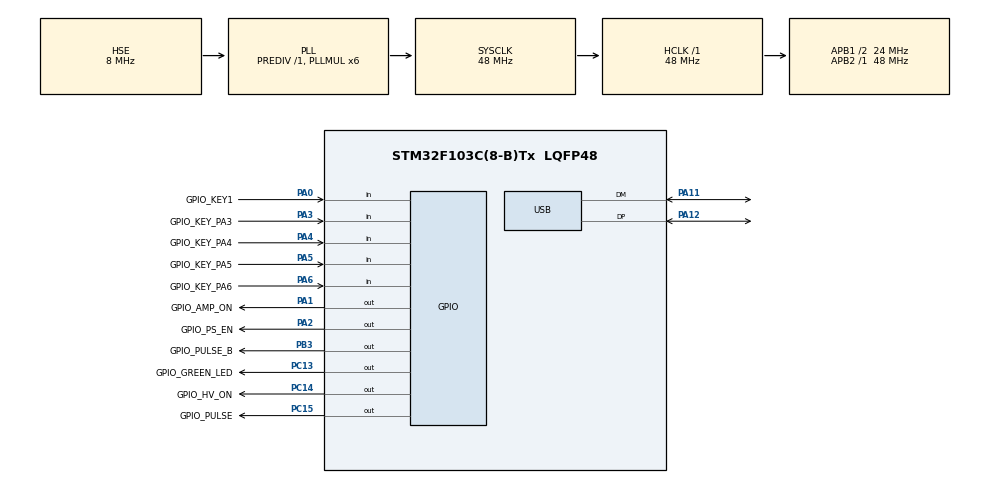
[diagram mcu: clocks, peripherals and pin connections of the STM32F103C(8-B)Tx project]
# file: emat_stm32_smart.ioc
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Mcu.Family=STM32F1
Mcu.Name=STM32F103C(8-B)Tx
Mcu.Package=LQFP48
NVIC.PriorityGroup=NVIC_PRIORITYGROUP_4
NVIC.TIM3_IRQn=true\:0\:0\:false\:false\:true\:true
NVIC.TIM4_IRQn=true\:0\:0\:false\:true\:true\:2\:true
NVIC.USB_LP_CAN1_RX0_IRQn=true\:0\:0\:false\:true\:true\:1\:false
PA0-WKUP.GPIO_Label=GPIO_KEY1
PA0-WKUP.GPIO_Mode=GPIO_MODE_INPUT
PA0-WKUP.GPIO_PuPd=GPIO_PULLUP
PA0-WKUP.Signal=GPIO_Input
PA1.GPIO_Label=GPIO_AMP_ON
PA1.GPIO_Speed=GPIO_SPEED_FREQ_HIGH
PA1.PinState=GPIO_PIN_RESET
PA1.Signal=GPIO_Output
PA11.Mode=Device
PA11.Signal=USB_DM
PA12.Mode=Device
PA12.Signal=USB_DP
PA2.GPIO_Label=GPIO_PS_EN
PA2.GPIO_ModeDefaultOutputPP=GPIO_MODE_OUTPUT_OD
PA2.GPIO_Speed=GPIO_SPEED_FREQ_HIGH
PA2.PinState=GPIO_PIN_SET
PA2.Signal=GPIO_Output
PA3.GPIO_Label=GPIO_KEY_PA3
PA3.GPIO_PuPd=GPIO_PULLUP
PA3.Signal=GPIO_Input
PA4.GPIO_Label=GPIO_KEY_PA4
PA4.GPIO_PuPd=GPIO_PULLUP
PA4.Signal=GPIO_Input
PA5.GPIO_Label=GPIO_KEY_PA5
PA5.GPIO_PuPd=GPIO_PULLUP
PA5.Signal=GPIO_Input
PA6.GPIO_Label=GPIO_KEY_PA6
PA6.GPIO_PuPd=GPIO_PULLUP
PA6.Signal=GPIO_Input
PB3.GPIO_Label=GPIO_PULSE_B
PB3.GPIO_Speed=GPIO_SPEED_FREQ_HIGH
PB3.PinState=GPIO_PIN_SET
PB3.Signal=GPIO_Output
PC13-TAMPER-RTC.GPIO_Label=GPIO_GREEN_LED
PC13-TAMPER-RTC.GPIO_ModeDefaultOutputPP=GPIO_MODE_OUTPUT_OD
PC13-TAMPER-RTC.PinState=GPIO_PIN_SET
PC13-TAMPER-RTC.Signal=GPIO_Output
PC14-OSC32_IN.GPIO_Label=GPIO_HV_ON
PC14-OSC32_IN.GPIO_ModeDefaultOutputPP=GPIO_MODE_OUTPUT_OD
PC14-OSC32_IN.GPIO_Speed=GPIO_SPEED_FREQ_HIGH
PC14-OSC32_IN.PinState=GPIO_PIN_SET
PC14-OSC32_IN.Signal=GPIO_Output
PC15-OSC32_OUT.GPIO_Label=GPIO_PULSE
PC15-OSC32_OUT.GPIO_ModeDefaultOutputPP=GPIO_MODE_OUTPUT_OD
PC15-OSC32_OUT.GPIO_Speed=GPIO_SPEED_FREQ_HIGH
PC15-OSC32_OUT.PinState=GPIO_PIN_SET
PC15-OSC32_OUT.Signal=GPIO_Output
PD0-OSC_IN.Mode=HSE-External-Oscillator
PD0-OSC_IN.Signal=RCC_OSC_IN
PD1-OSC_OUT.Mode=HSE-External-Oscillator
PD1-OSC_OUT.Signal=RCC_OSC_OUT
ProjectManager.HeapSize=0x200
ProjectManager.StackSize=0x400
ProjectManager.TargetToolchain=SW4STM32
RCC.AHBFreq_Value=48000000
RCC.APB1CLKDivider=RCC_HCLK_DIV2
RCC.APB1Freq_Value=24000000
RCC.APB1TimFreq_Value=48000000
RCC.APB2Freq_Value=48000000
RCC.APB2TimFreq_Value=48000000
RCC.HCLKFreq_Value=48000000
RCC.PLLMUL=RCC_PLL_MUL6
RCC.RTCClockSelection=RCC_RTCCLKSOURCE_LSE
RCC.SYSCLKFreq_VALUE=48000000
RCC.SYSCLKSource=RCC_SYSCLKSOURCE_PLLCLK
RCC.USBFreq_Value=48000000
TIM3.Period=48
TIM3.Prescaler=48
TIM4.AutoReloadPreload=TIM_AUTORELOAD_PRELOAD_DISABLE
TIM4.Period=48000
TIM4.Prescaler=0
TIM4.TIM_MasterOutputTrigger=TIM_TRGO_RESET
USB_DEVICE.CLASS_NAME_FS=CDC
USB_DEVICE.VirtualMode=Cdc
USB_DEVICE.VirtualModeFS=Cdc_FS
VP_SYS_VS_ND.Mode=No_Debug
VP_TIM3_VS_ClockSourceINT.Mode=Internal
VP_TIM4_VS_ClockSourceINT.Mode=Internal
VP_USB_DEVICE_VS_USB_DEVICE_CDC_FS.Mode=CDC_FS
board=custom

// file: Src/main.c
/**
  ******************************************************************************
  * @file           : main.c
  * @brief          : Main program body
  ******************************************************************************
  * This notice applies to any and all portions of this file
  * that are not between comment pairs USER CODE BEGIN and
  * USER CODE END. Other portions of this file, whether
  * inserted by the user or by software development tools
  * are owned by their respective copyright owners.
  *
  * Copyright (c) 2019 STMicroelectronics International N.V.
  * All rights reserved.
  *
  * Redistribution and use in source and binary forms, with or without
  * modification, are permitted, provided that the following conditions are met:
  *
  * 1. Redistribution of source code must retain the above copyright notice,
  *    this list of conditions and the following disclaimer.
  * 2. Redistributions in binary form must reproduce the above copyright notice,
  *    this list of conditions and the following disclaimer in the documentation
  *    and/or other materials provided with the distribution.
  * 3. Neither the name of STMicroelectronics nor the names of other
  *    contributors to this software may be used to endorse or promote products
  *    derived from this software without specific written permission.
  * 4. This software, including modifications and/or derivative works of this
  *    software, must execute solely and exclusively on microcontroller or
  *    microprocessor devices manufactured by or for STMicroelectronics.
  * 5. Redistribution and use of this software other than as permitted under
  *    this license is void and will automatically terminate your rights under
  *    this license.
  *
  * THIS SOFTWARE IS PROVIDED BY STMICROELECTRONICS AND CONTRIBUTORS "AS IS"
  * AND ANY EXPRESS, IMPLIED OR STATUTORY WARRANTIES, INCLUDING, BUT NOT
  * LIMITED TO, THE IMPLIED WARRANTIES OF MERCHANTABILITY, FITNESS FOR A
  * PARTICULAR PURPOSE AND NON-INFRINGEMENT OF THIRD PARTY INTELLECTUAL PROPERTY
  * RIGHTS ARE DISCLAIMED TO THE FULLEST EXTENT PERMITTED BY LAW. IN NO EVENT
  * SHALL STMICROELECTRONICS OR CONTRIBUTORS BE LIABLE FOR ANY DIRECT, INDIRECT,
  * INCIDENTAL, SPECIAL, EXEMPLARY, OR CONSEQUENTIAL DAMAGES (INCLUDING, BUT NOT
  * LIMITED TO, PROCUREMENT OF SUBSTITUTE GOODS OR SERVICES; LOSS OF USE, DATA,
  * OR PROFITS; OR BUSINESS INTERRUPTION) HOWEVER CAUSED AND ON ANY THEORY OF
  * LIABILITY, WHETHER IN CONTRACT, STRICT LIABILITY, OR TORT (INCLUDING
  * NEGLIGENCE OR OTHERWISE) ARISING IN ANY WAY OUT OF THE USE OF THIS SOFTWARE,
  * EVEN IF ADVISED OF THE POSSIBILITY OF SUCH DAMAGE.
  *
  ******************************************************************************
  */
#include "main.h"
#include "stm32f1xx_hal.h"
#include "usb_device.h"

/* USER CODE BEGIN Includes */
#include "src/microrl.h"
#include "event_queue.h"
#include "timer.h"
#include "timer_pulse.h"
#include "keys.h"
#include "stm32_microrl_misc.h"
/* USER CODE END Includes */

TIM_HandleTypeDef htim3;
TIM_HandleTypeDef htim4;

/* USER CODE BEGIN PV */
/* Private variables ---------------------------------------------------------*/
TIM_HandleTypeDef htim1;
//static uint32_t timer_counter;
static uint32_t pulse_width=10;
static uint32_t last_width=102;
typedef enum e_hv_state_TAG{
	HV_STATE_OFF,
	HV_STATE_ON
	} e_hv_state;
static e_hv_state hv_state = HV_STATE_OFF;
typedef enum e_pulse_state_TAG{
	PULSE_STATE_OFF,
	PULSE_STATE_DELAY_AFTER_HV_OFF,
	PULSE_STATE_ON_AFTER_HV_OFF,
	PULSE_STATE_ON
	} e_pulse_state;
static e_pulse_state pulse_state = PULSE_STATE_OFF;

typedef enum e_ext_int_state_TAG{
	EXT_INT_STATE_IDLE,
	EXT_INT_STATE_TRIGGERED,
	EXT_INT_STATE_DELAY_BEFORE_ON,
	EXT_INT_STATE_DELAY_BEFORE_OFF,
	} e_ext_int_state;
static e_ext_int_state ext_int_state = EXT_INT_STATE_IDLE;
/* USER CODE END PV */

void SystemClock_Config(void);
static void MX_GPIO_Init(void);
static void MX_TIM4_Init(void);
static void MX_TIM3_Init(void);
static void MX_NVIC_Init(void);

/* USER CODE BEGIN PFP */
/* Private function prototypes -----------------------------------------------*/
#define HV_ON() { \
		HAL_GPIO_WritePin(GPIO_HV_ON_GPIO_Port, GPIO_HV_ON_Pin, GPIO_PIN_RESET); \
		HAL_GPIO_WritePin(GPIO_GREEN_LED_GPIO_Port, GPIO_GREEN_LED_Pin, GPIO_PIN_RESET); \
	}
#define HV_OFF() { \
		HAL_GPIO_WritePin(GPIO_HV_ON_GPIO_Port, GPIO_HV_ON_Pin, GPIO_PIN_SET); \
		HAL_GPIO_WritePin(GPIO_GREEN_LED_GPIO_Port, GPIO_GREEN_LED_Pin, GPIO_PIN_SET); \
    }

#define PULSE_ON() { \
		HAL_GPIO_WritePin(GPIO_PULSE_GPIO_Port, GPIO_PULSE_Pin, GPIO_PIN_RESET); \
		HAL_GPIO_WritePin(GPIO_PULSE_B_GPIO_Port, GPIO_PULSE_B_Pin, GPIO_PIN_RESET); \
	}
#define PULSE_OFF() { \
		HAL_GPIO_WritePin(GPIO_PULSE_GPIO_Port, GPIO_PULSE_Pin, GPIO_PIN_SET); \
		HAL_GPIO_WritePin(GPIO_PULSE_B_GPIO_Port, GPIO_PULSE_B_Pin, GPIO_PIN_SET); \
	}
#define PS_ON() { \
		HAL_GPIO_WritePin(GPIO_PS_EN_GPIO_Port, GPIO_PS_EN_Pin, GPIO_PIN_SET); \
	}
#define PS_OFF() { \
		HAL_GPIO_WritePin(GPIO_PS_EN_GPIO_Port, GPIO_PS_EN_Pin, GPIO_PIN_RESET); \
	}

#define AMP_ON() { \
		HAL_GPIO_WritePin(GPIO_AMP_ON_GPIO_Port, GPIO_AMP_ON_Pin, GPIO_PIN_RESET); \
	}
#define AMP_OFF() { \
		HAL_GPIO_WritePin(GPIO_AMP_ON_GPIO_Port, GPIO_AMP_ON_Pin, GPIO_PIN_SET); \
	}
//#define LED_GREEN_ON() HAL_GPIO_WritePin(GPIO_GREEN_LED_GPIO_Port, GPIO_GREEN_LED_Pin, GPIO_PIN_RESET)
//#define LED_GREEN_OFF() HAL_GPIO_WritePin(GPIO_GREEN_LED_GPIO_Port, GPIO_GREEN_LED_Pin, GPIO_PIN_SET)

#define DELAY_AFTER_HV_OFF 5

/* USER CODE END PFP */

/* USER CODE BEGIN 0 */
void EventQueueIsFull(void)
{
	print("Error! EQ is Full!");
	for(;;);
}

void TimerPulseOnCallback(void)
{
	PULSE_ON();
}
void TimerPsOffCallback(void)
{
	PS_OFF();
}
void TimerPulseOffCallback(void)
{
	PULSE_OFF();
}
void TimerAmpOnCallback(void)
{
	AMP_ON();
}

char Key0Callback(void)
{
	char pressed = 0;
	if (GPIO_PIN_RESET == HAL_GPIO_ReadPin(GPIO_KEY1_GPIO_Port, GPIO_KEY1_Pin)){
		pressed = 1;
	}
	return pressed;
}

char KeyPA3Callback(void)
{
	char pressed = 0;
	if (GPIO_PIN_RESET == HAL_GPIO_ReadPin(GPIO_KEY_PA3_GPIO_Port, GPIO_KEY_PA3_Pin)){
		pressed = 1;
	}
	return pressed;
}

char KeyPA4Callback(void)
{
	char pressed = 0;
	if (GPIO_PIN_RESET == HAL_GPIO_ReadPin(GPIO_KEY_PA4_GPIO_Port, GPIO_KEY_PA4_Pin)){
		pressed = 1;
	}
	return pressed;
}

char KeyPA5Callback(void)
{
	char pressed = 0;
	if (GPIO_PIN_RESET == HAL_GPIO_ReadPin(GPIO_KEY_PA5_GPIO_Port, GPIO_KEY_PA5_Pin)){
		pressed = 1;
	}
	return pressed;
}

char KeyPA6Callback(void)
{
	char pressed = 0;
	if (GPIO_PIN_RESET == HAL_GPIO_ReadPin(GPIO_KEY_PA6_GPIO_Port, GPIO_KEY_PA6_Pin)){
		pressed = 1;
	}
	return pressed;
}

/* USER CODE END 0 */

int main(void)
{
  /* USER CODE BEGIN 1 */
	eq_queue_element_s ev;
  /* USER CODE END 1 */

  /* MCU Configuration----------------------------------------------------------*/

  /* Reset of all peripherals, Initializes the Flash interface and the Systick. */
  HAL_Init();

  /* Configure the system clock */
  SystemClock_Config();

  /* Initialize all configured peripherals */
  MX_GPIO_Init();
  MX_USB_DEVICE_Init();
  MX_TIM4_Init();
  MX_TIM3_Init();

  /* Initialize interrupts */
  MX_NVIC_Init();
  /* USER CODE BEGIN 2 */
  KEYS_Init(TIM4_IRQn);
  keys_cb_s keys_cb;

  keys_cb.mask = 0x3FF;
  keys_cb.event = CMD_PULSE_ON;
  keys_cb.p_check_key_callback = &Key0Callback;
  KEYS_RegisterCallback(0, &keys_cb);

  keys_cb.mask = 0x3FF;
  keys_cb.event = CMD_HV_ON;
  keys_cb.p_check_key_callback = &KeyPA3Callback;
  KEYS_RegisterCallback(1, &keys_cb);

  keys_cb.mask = 0x3FF;
  keys_cb.event = CMD_PULSE_ON;
  keys_cb.p_check_key_callback = &KeyPA4Callback;
  KEYS_RegisterCallback(2, &keys_cb);

  keys_cb.mask = 0x3FF;
  keys_cb.event = CMD_HV_OFF;
  keys_cb.p_check_key_callback = &KeyPA5Callback;
  KEYS_RegisterCallback(3, &keys_cb);

  keys_cb.mask = 0x3FF;
  keys_cb.event = CMD_PULSE_OFF;
  keys_cb.p_check_key_callback = &KeyPA6Callback;
  KEYS_RegisterCallback(3, &keys_cb);

  HAL_TIM_Base_Start_IT(&htim4);
//  HAL_TIM_Base_Start_IT(&htim3);
  init();
  TIMER_PULSE_Init(&htim3,TIM3_IRQn);
  tm_pulse_cb_s cb;
  cb.p_ps_off_callback = &TimerPsOffCallback;;
  cb.p_amp_on_callback = &TimerAmpOnCallback;
  cb.p_pulse_on_callback = &TimerPulseOnCallback;
  cb.p_pulse_off_callback = &TimerPulseOffCallback;
  cb.delay_to_ps_off = 1000;
  cb.delay_to_pulse_on = 4000;
  cb.delay_to_amp_on = 15;
  cb.delay_to_pulse_off = 285;
  TIMER_PULSE_RegisterCallbackExpired(&cb);
//  HAL_GPIO_WritePin(GPIO_GREEN_LED_GPIO_Port, GPIO_GREEN_LED_Pin, GPIO_PIN_SET);
  /* USER CODE END 2 */

  /* Infinite loop */
  while (1)
  {

  /* USER CODE BEGIN 3 */
//	  HAL_GPIO_WritePin(GPIO_GREEN_LED_GPIO_Port, GPIO_GREEN_LED_Pin, GPIO_PIN_SET);
	  TERM_Task();
	  TIMER_Task();
	  TIMER_PULSE_Task();
	  KEYS_Task();
	  do {
		  EQ_GetEvent(&ev);
//		  ExtIntTask(&ev);
		  switch(ev.event){
		  case NO_EVENT:
			  break;
		  case CMD_WIDTH:
			  pulse_width=ev.param.uiParam;
//			  TIMER_StartAuto(1, ev.param.uiParam);
//			  last_width = ev.param.uiParam;
			  break;
		  case CMD_PULSE_OFF:
			  if (pulse_state == PULSE_STATE_ON) {
				  PULSE_OFF();
				  pulse_state = PULSE_STATE_OFF;
			  }
			  break;
		  case CMD_PULSE_ON:
			  if (hv_state == HV_STATE_ON) {
				  HV_OFF();
				  hv_state = HV_STATE_OFF;
//				  PS_OFF();
				  AMP_OFF();
				  TIMER_PULSE_Start();
				  pulse_state = PULSE_STATE_DELAY_AFTER_HV_OFF;
			  } else {
				  PULSE_ON();
				  AMP_OFF();
//				  TIMER_PULSE_Start();

//				  TIMER_StartAuto(1, pulse_width);
				  pulse_state = PULSE_STATE_ON;
			  }
//			  HAL_GPIO_WritePin(GPIO_PULSE_GPIO_Port, GPIO_PULSE_Pin, GPIO_PIN_SET);  // SET means open IGBT
			  break;
		  case PULSE_TIMER_EXPIRED:
			  if (pulse_state == PULSE_STATE_ON) {
				  pulse_state = PULSE_STATE_OFF;
				  PS_ON();
			  } else if (PULSE_STATE_DELAY_AFTER_HV_OFF == pulse_state) {
				  pulse_state = PULSE_STATE_OFF;
				  HV_ON();
				  hv_state = HV_STATE_ON;
				  PS_ON();
			  }
			  break;
		  case TIMER1_EXPIRED:
			  if (pulse_state == PULSE_STATE_ON) {
				  PULSE_OFF();
				  pulse_state = PULSE_STATE_OFF;
			  } else if (pulse_state == PULSE_STATE_DELAY_AFTER_HV_OFF) {
				  PS_OFF();
				  PULSE_ON();
				  TIMER_StartAuto(1, pulse_width);
				  pulse_state = PULSE_STATE_ON_AFTER_HV_OFF;
			  } else if (pulse_state == PULSE_STATE_ON_AFTER_HV_OFF) {
				  PULSE_OFF();
				  PS_ON();
				  pulse_state = PULSE_STATE_OFF;
				  HV_ON();
				  hv_state = HV_STATE_ON;
			  }

//			  HAL_GPIO_WritePin(GPIO_PULSE_GPIO_Port, GPIO_PULSE_Pin, GPIO_PIN_RESET);// RESET means close IGBT
			  break;
		  case CMD_HV_ON:
//			  HAL_GPIO_WritePin(HV_ON_OFF_GPIO_Port, HV_ON_OFF_Pin, GPIO_PIN_SET);
			  TIMER_Stop(1);
//			  LED_GREEN_ON();
			  PS_ON();
			  HV_ON();
			  hv_state = HV_STATE_ON;
			  PULSE_OFF();
			  pulse_state = PULSE_STATE_OFF;

//			  HAL_GPIO_WritePin(GPIO_GREEN_LED_GPIO_Port, GPIO_GREEN_LED_Pin, GPIO_PIN_RESET);
//			  HAL_GPIO_WritePin(GPIO_PULSE_GPIO_Port, GPIO_PULSE_Pin, GPIO_PIN_RESET);// RESET means close IGBT
//			  HAL_GPIO_WritePin(GPIO_HV_ON_GPIO_Port, GPIO_HV_ON_Pin, GPIO_PIN_RESET);
			  break;
		  case CMD_HV_OFF:
			  TIMER_Stop(1);
//			  LED_GREEN_OFF();
//			  HAL_GPIO_WritePin(GPIO_GREEN_LED_GPIO_Port, GPIO_GREEN_LED_Pin, GPIO_PIN_SET);
			  HV_OFF();
			  hv_state = HV_STATE_OFF;
//			  PULSE_ON();
//			  pulse_state = PULSE_STATE_ON;
//			  HAL_GPIO_WritePin(GPIO_HV_ON_GPIO_Port, GPIO_HV_ON_Pin, GPIO_PIN_SET); // SET means OFF - close open drain
//			  HAL_GPIO_WritePin(GPIO_PULSE_GPIO_Port, GPIO_PULSE_Pin, GPIO_PIN_SET);
			  break;
		  default:
			  break;
		  }
	  } while (ev.event != NO_EVENT);

  }
  /* USER CODE END 3 */

}

void SystemClock_Config(void)
{

  RCC_OscInitTypeDef RCC_OscInitStruct;
  RCC_ClkInitTypeDef RCC_ClkInitStruct;
  RCC_PeriphCLKInitTypeDef PeriphClkInit;

    /**Initializes the CPU, AHB and APB busses clocks
    */
  RCC_OscInitStruct.OscillatorType = RCC_OSCILLATORTYPE_HSE;
  RCC_OscInitStruct.HSEState = RCC_HSE_ON;
  RCC_OscInitStruct.HSEPredivValue = RCC_HSE_PREDIV_DIV1;
  RCC_OscInitStruct.HSIState = RCC_HSI_ON;
  RCC_OscInitStruct.PLL.PLLState = RCC_PLL_ON;
  RCC_OscInitStruct.PLL.PLLSource = RCC_PLLSOURCE_HSE;
  RCC_OscInitStruct.PLL.PLLMUL = RCC_PLL_MUL6;
  if (HAL_RCC_OscConfig(&RCC_OscInitStruct) != HAL_OK)
  {
    _Error_Handler(__FILE__, __LINE__);
  }

    /**Initializes the CPU, AHB and APB busses clocks
    */
  RCC_ClkInitStruct.ClockType = RCC_CLOCKTYPE_HCLK|RCC_CLOCKTYPE_SYSCLK
                              |RCC_CLOCKTYPE_PCLK1|RCC_CLOCKTYPE_PCLK2;
  RCC_ClkInitStruct.SYSCLKSource = RCC_SYSCLKSOURCE_PLLCLK;
  RCC_ClkInitStruct.AHBCLKDivider = RCC_SYSCLK_DIV1;
  RCC_ClkInitStruct.APB1CLKDivider = RCC_HCLK_DIV2;
  RCC_ClkInitStruct.APB2CLKDivider = RCC_HCLK_DIV1;

  if (HAL_RCC_ClockConfig(&RCC_ClkInitStruct, FLASH_LATENCY_1) != HAL_OK)
  {
    _Error_Handler(__FILE__, __LINE__);
  }

  PeriphClkInit.PeriphClockSelection = RCC_PERIPHCLK_USB;
  PeriphClkInit.UsbClockSelection = RCC_USBCLKSOURCE_PLL;
  if (HAL_RCCEx_PeriphCLKConfig(&PeriphClkInit) != HAL_OK)
  {
    _Error_Handler(__FILE__, __LINE__);
  }

    /**Configure the Systick interrupt time
    */
  HAL_SYSTICK_Config(HAL_RCC_GetHCLKFreq()/1000);

    /**Configure the Systick
    */
  HAL_SYSTICK_CLKSourceConfig(SYSTICK_CLKSOURCE_HCLK);

  /* SysTick_IRQn interrupt configuration */
  HAL_NVIC_SetPriority(SysTick_IRQn, 0, 0);
}

/**
  * @brief NVIC Configuration.
  * @retval None
  */
static void MX_NVIC_Init(void)
{
  /* USB_LP_CAN1_RX0_IRQn interrupt configuration */
  HAL_NVIC_SetPriority(USB_LP_CAN1_RX0_IRQn, 0, 0);
  HAL_NVIC_EnableIRQ(USB_LP_CAN1_RX0_IRQn);
  /* TIM4_IRQn interrupt configuration */
  HAL_NVIC_SetPriority(TIM4_IRQn, 0, 0);
  HAL_NVIC_EnableIRQ(TIM4_IRQn);
}

/* TIM3 init function */
static void MX_TIM3_Init(void)
{

  TIM_ClockConfigTypeDef sClockSourceConfig;
  TIM_MasterConfigTypeDef sMasterConfig;

  htim3.Instance = TIM3;
  htim3.Init.Prescaler = 48;
  htim3.Init.CounterMode = TIM_COUNTERMODE_UP;
  htim3.Init.Period = 48;
  htim3.Init.ClockDivision = TIM_CLOCKDIVISION_DIV1;
  htim3.Init.AutoReloadPreload = TIM_AUTORELOAD_PRELOAD_DISABLE;
  if (HAL_TIM_Base_Init(&htim3) != HAL_OK)
  {
    _Error_Handler(__FILE__, __LINE__);
  }

  sClockSourceConfig.ClockSource = TIM_CLOCKSOURCE_INTERNAL;
  if (HAL_TIM_ConfigClockSource(&htim3, &sClockSourceConfig) != HAL_OK)
  {
    _Error_Handler(__FILE__, __LINE__);
  }

  sMasterConfig.MasterOutputTrigger = TIM_TRGO_RESET;
  sMasterConfig.MasterSlaveMode = TIM_MASTERSLAVEMODE_DISABLE;
  if (HAL_TIMEx_MasterConfigSynchronization(&htim3, &sMasterConfig) != HAL_OK)
  {
    _Error_Handler(__FILE__, __LINE__);
  }

}

/* TIM4 init function */
static void MX_TIM4_Init(void)
{

  TIM_ClockConfigTypeDef sClockSourceConfig;
  TIM_MasterConfigTypeDef sMasterConfig;

  htim4.Instance = TIM4;
  htim4.Init.Prescaler = 0;
  htim4.Init.CounterMode = TIM_COUNTERMODE_UP;
  htim4.Init.Period = 48000;
  htim4.Init.ClockDivision = TIM_CLOCKDIVISION_DIV1;
  htim4.Init.AutoReloadPreload = TIM_AUTORELOAD_PRELOAD_DISABLE;
  if (HAL_TIM_Base_Init(&htim4) != HAL_OK)
  {
    _Error_Handler(__FILE__, __LINE__);
  }

  sClockSourceConfig.ClockSource = TIM_CLOCKSOURCE_INTERNAL;
  if (HAL_TIM_ConfigClockSource(&htim4, &sClockSourceConfig) != HAL_OK)
  {
    _Error_Handler(__FILE__, __LINE__);
  }

  sMasterConfig.MasterOutputTrigger = TIM_TRGO_RESET;
  sMasterConfig.MasterSlaveMode = TIM_MASTERSLAVEMODE_DISABLE;
  if (HAL_TIMEx_MasterConfigSynchronization(&htim4, &sMasterConfig) != HAL_OK)
  {
    _Error_Handler(__FILE__, __LINE__);
  }

}

/** Configure pins as
        * Analog
        * Input
        * Output
        * EVENT_OUT
        * EXTI
        * Free pins are configured automatically as Analog (this feature is enabled through
        * the Code Generation settings)
*/
static void MX_GPIO_Init(void)
{

  GPIO_InitTypeDef GPIO_InitStruct;

  /* GPIO Ports Clock Enable */
  __HAL_RCC_GPIOC_CLK_ENABLE();
  __HAL_RCC_GPIOD_CLK_ENABLE();
  __HAL_RCC_GPIOA_CLK_ENABLE();
  __HAL_RCC_GPIOB_CLK_ENABLE();

  /*Configure GPIO pin Output Level */
  HAL_GPIO_WritePin(GPIOC, GPIO_GREEN_LED_Pin|GPIO_HV_ON_Pin|GPIO_PULSE_Pin, GPIO_PIN_SET);

  /*Configure GPIO pin Output Level */
  HAL_GPIO_WritePin(GPIO_AMP_ON_GPIO_Port, GPIO_AMP_ON_Pin, GPIO_PIN_RESET);

  /*Configure GPIO pin Output Level */
  HAL_GPIO_WritePin(GPIO_PS_EN_GPIO_Port, GPIO_PS_EN_Pin, GPIO_PIN_SET);

  /*Configure GPIO pin Output Level */
  HAL_GPIO_WritePin(GPIO_PULSE_B_GPIO_Port, GPIO_PULSE_B_Pin, GPIO_PIN_SET);

  /*Configure GPIO pin : GPIO_GREEN_LED_Pin */
  GPIO_InitStruct.Pin = GPIO_GREEN_LED_Pin;
  GPIO_InitStruct.Mode = GPIO_MODE_OUTPUT_OD;
  GPIO_InitStruct.Pull = GPIO_NOPULL;
  GPIO_InitStruct.Speed = GPIO_SPEED_FREQ_LOW;
  HAL_GPIO_Init(GPIO_GREEN_LED_GPIO_Port, &GPIO_InitStruct);

  /*Configure GPIO pins : GPIO_HV_ON_Pin GPIO_PULSE_Pin */
  GPIO_InitStruct.Pin = GPIO_HV_ON_Pin|GPIO_PULSE_Pin;
  GPIO_InitStruct.Mode = GPIO_MODE_OUTPUT_OD;
  GPIO_InitStruct.Pull = GPIO_NOPULL;
  GPIO_InitStruct.Speed = GPIO_SPEED_FREQ_HIGH;
  HAL_GPIO_Init(GPIOC, &GPIO_InitStruct);

  /*Configure GPIO pins : GPIO_KEY1_Pin GPIO_KEY_PA3_Pin GPIO_KEY_PA4_Pin GPIO_KEY_PA5_Pin
                           GPIO_KEY_PA6_Pin */
  GPIO_InitStruct.Pin = GPIO_KEY1_Pin|GPIO_KEY_PA3_Pin|GPIO_KEY_PA4_Pin|GPIO_KEY_PA5_Pin
                          |GPIO_KEY_PA6_Pin;
  GPIO_InitStruct.Mode = GPIO_MODE_INPUT;
  GPIO_InitStruct.Pull = GPIO_PULLUP;
  HAL_GPIO_Init(GPIOA, &GPIO_InitStruct);

  /*Configure GPIO pin : GPIO_AMP_ON_Pin */
  GPIO_InitStruct.Pin = GPIO_AMP_ON_Pin;
  GPIO_InitStruct.Mode = GPIO_MODE_OUTPUT_PP;
  GPIO_InitStruct.Pull = GPIO_NOPULL;
  GPIO_InitStruct.Speed = GPIO_SPEED_FREQ_HIGH;
  HAL_GPIO_Init(GPIO_AMP_ON_GPIO_Port, &GPIO_InitStruct);

  /*Configure GPIO pin : GPIO_PS_EN_Pin */
  GPIO_InitStruct.Pin = GPIO_PS_EN_Pin;
  GPIO_InitStruct.Mode = GPIO_MODE_OUTPUT_OD;
  GPIO_InitStruct.Pull = GPIO_NOPULL;
  GPIO_InitStruct.Speed = GPIO_SPEED_FREQ_HIGH;
  HAL_GPIO_Init(GPIO_PS_EN_GPIO_Port, &GPIO_InitStruct);

  /*Configure GPIO pins : PA7 PA8 PA9 PA10
                           PA13 PA14 PA15 */
  GPIO_InitStruct.Pin = GPIO_PIN_7|GPIO_PIN_8|GPIO_PIN_9|GPIO_PIN_10
                          |GPIO_PIN_13|GPIO_PIN_14|GPIO_PIN_15;
  GPIO_InitStruct.Mode = GPIO_MODE_ANALOG;
  HAL_GPIO_Init(GPIOA, &GPIO_InitStruct);

  /*Configure GPIO pins : PB0 PB1 PB2 PB10
                           PB11 PB12 PB13 PB14
                           PB15 PB4 PB5 PB6
                           PB7 PB8 PB9 */
  GPIO_InitStruct.Pin = GPIO_PIN_0|GPIO_PIN_1|GPIO_PIN_2|GPIO_PIN_10
                          |GPIO_PIN_11|GPIO_PIN_12|GPIO_PIN_13|GPIO_PIN_14
                          |GPIO_PIN_15|GPIO_PIN_4|GPIO_PIN_5|GPIO_PIN_6
                          |GPIO_PIN_7|GPIO_PIN_8|GPIO_PIN_9;
  GPIO_InitStruct.Mode = GPIO_MODE_ANALOG;
  HAL_GPIO_Init(GPIOB, &GPIO_InitStruct);

  /*Configure GPIO pin : GPIO_PULSE_B_Pin */
  GPIO_InitStruct.Pin = GPIO_PULSE_B_Pin;
  GPIO_InitStruct.Mode = GPIO_MODE_OUTPUT_PP;
  GPIO_InitStruct.Pull = GPIO_NOPULL;
  GPIO_InitStruct.Speed = GPIO_SPEED_FREQ_HIGH;
  HAL_GPIO_Init(GPIO_PULSE_B_GPIO_Port, &GPIO_InitStruct);

}

/* USER CODE BEGIN 4 */
//void ReloadPulseTimer()
//{
//	htim3.Instance->ARR = 200;
//}
/* USER CODE END 4 */

void _Error_Handler(char *file, int line)
{
  while(1)
  {
  }
}

/************************ (C) COPYRIGHT STMicroelectronics *****END OF FILE****/
